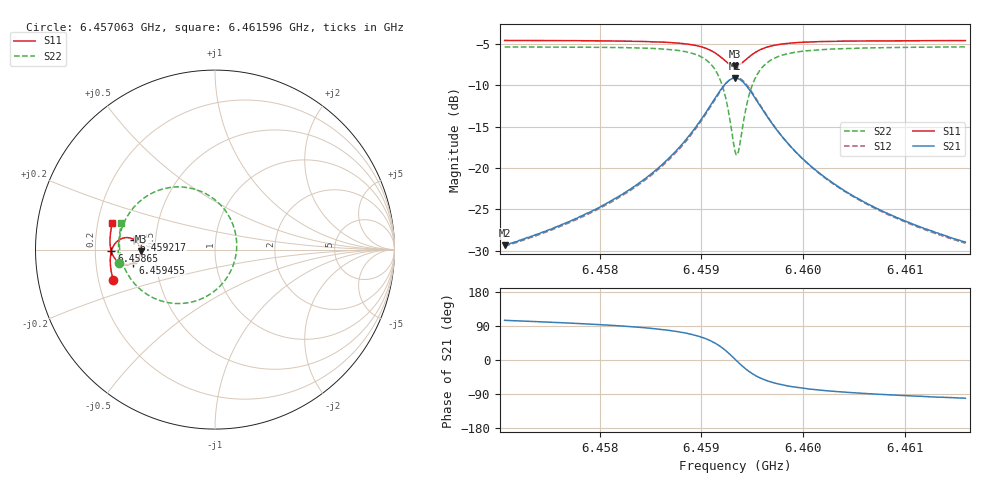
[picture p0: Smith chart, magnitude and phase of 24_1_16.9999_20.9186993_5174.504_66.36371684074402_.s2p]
#  HZ  S  RI  R  50.00
! Rohde & Schwarz Vector Network Analyzer
! Rohde-Schwarz,ZNB20-2Port,1311601062101988,3.16
! Created: UTC 3/20/2024, 10:53:06 PM
! freq[Hz]  re:S11  im:S11  re:S21  im:S21  re:S12  im:S12  re:S22  im:S22
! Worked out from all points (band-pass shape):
!   401 points, 6.457063 GHz to 6.461596 GHz, reference 50 ohm
!   highest |S21| = -9.10 dB at 6.45933 GHz (marker M1); lowest = -29.3 dB at 6.457063 GHz (marker M2)
!   |S21| within 3 dB of the highest: 6.459105 GHz to 6.459557 GHz (452.9 kHz wide, 0.00701 % of centre)
!   lowest |S11| = -7.6 dB at 6.45933 GHz (marker M3), VSWR 2.42, Z = 20.7 - j0.39 ohm
!   |S11| at or under -10 dB: nowhere
!   |S22| runs from -18.4 to -5.3 dB; largest |S21 - S12| = 0.014
!   S11 on the Smith chart (normalised r, x): 6.457063 GHz: 0.26, -0.13; 6.45865 GHz: 0.27, -0.01; 6.459217 GHz: 0.38, +0.05; 6.459455 GHz: 0.37, -0.07; 6.461596 GHz: 0.26, +0.12
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6.4570635e9  -0.5678 -0.1672  -0.00872 0.033  -0.00689 0.033  -0.5347 -0.0764
6.4578227e9  -0.581 -0.1004  -0.00517 0.0512  -0.00262 0.0506  -0.5387 0.0133
6.458242e9  -0.5837 -0.058  0.000985 0.0709  0.00428 0.0693  -0.5297 0.0803
6.458582e9  -0.5794 -0.0171  0.0153 0.0999  0.0192 0.0971  -0.5031 0.158
6.45865e9  -0.5771 -0.00751  0.0206 0.1084  0.0247 0.1051  -0.4927 0.1783
6.4588427e9  -0.5642 0.0229  0.0476 0.1394  0.0517 0.1345  -0.4419 0.2472
6.45899e9  -0.5412 0.0491  0.0936 0.1701  0.0967 0.1632  -0.3572 0.3114
6.459126e9  -0.4968 0.0668  0.1817 0.1865  0.1823 0.1791  -0.1964 0.3493
6.4592166e9  -0.4518 0.0562  0.2725 0.1549  0.2727 0.1491  -0.0283 0.2978
6.4592846e9  -0.422 0.0237  0.3339 0.082  0.336 0.0771  0.0882 0.1667
6.45933e9  -0.4149 -0.00781  0.3506 0.0132  0.3543 0.00654  0.1208 0.0379
6.459364e9  -0.4187 -0.032  0.3446 -0.04  0.3488 -0.0489  0.1092 -0.0632
6.4594093e9  -0.4344 -0.0588  0.3156 -0.1012  0.3182 -0.1129  0.0503 -0.1783
6.4594546e9  -0.4569 -0.0756  0.2728 -0.1427  0.2722 -0.1561  -0.0365 -0.2542
6.4595453e9  -0.501 -0.0828  0.1863 -0.1742  0.1802 -0.1859  -0.2088 -0.3005
6.4596133e9  -0.5258 -0.0755  0.1371 -0.1722  0.129 -0.1811  -0.3038 -0.2847
6.4596926e9  -0.5457 -0.0624  0.0969 -0.1597  0.0883 -0.166  -0.379 -0.2493
6.4598512e9  -0.5677 -0.0345  0.0514 -0.1311  0.0437 -0.1338  -0.4602 -0.1755
6.4600892e9  -0.5805 0.00109  0.0221 -0.0987  0.0162 -0.0994  -0.5081 -0.0918
6.4604519e9  -0.5853 0.0444  0.00528 -0.07  0.00135 -0.0695  -0.5298 -0.00779
6.4608485e9  -0.5832 0.0843  -0.00173 -0.0525  -0.00463 -0.0517  -0.5332 0.0561
6.4615964e9  -0.5713 0.1508  -0.00678 -0.0351  -0.00842 -0.0341  -0.5215 0.1454
